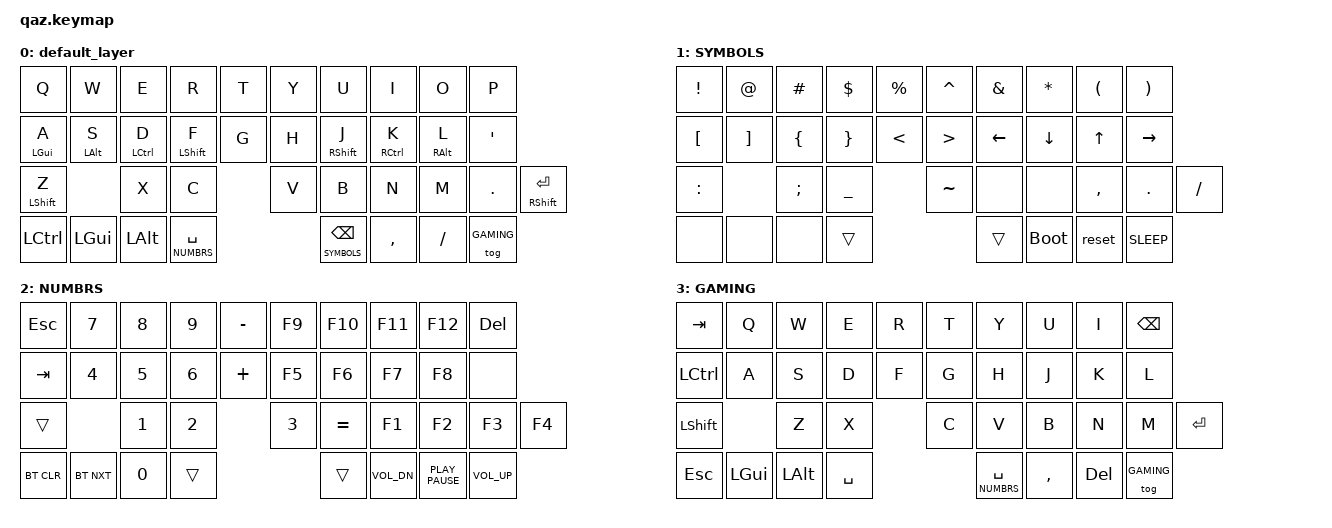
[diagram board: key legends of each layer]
/*
 * Copyright (c) 2020 The ZMK Contributors
 *
 * SPDX-License-Identifier: MIT
 */

#include <behaviors.dtsi>
#include <dt-bindings/zmk/keys.h>
#include <dt-bindings/zmk/bt.h>

#define DEFAULT 0
#define SYMBOLS 1
#define NUMBRS  2
#define GAMING  3

/ {
    behaviors {
        hm: homerow_mods {
            compatible = "zmk,behavior-hold-tap";
            label = "homerow mods";
            #binding-cells = <2>;
            tapping-term-ms = <250>;
            flavor = "tap-preferred";
            bindings = <&kp>, <&kp>;
        };
    };
};

/ {
    keymap {
        compatible = "zmk,keymap";

        default_layer {
            bindings = <
    &kp Q      &kp W      &kp E       &kp R       &kp T  &kp Y  &kp U       &kp I       &kp O      &kp P
    &hm LGUI A &hm LALT S &hm LCTRL D &hm LSHFT F &kp G  &kp H  &hm RSHFT J &hm RCTRL K &hm RALT L &kp SQT
    &hm LSHFT Z                 &kp X       &kp C       &kp V  &kp B  &kp N       &kp M       &kp DOT  &hm RSHFT ENTER
    &kp LCTRL  &kp LGUI   &kp LALT       &lt NUMBRS SPACE    &lt SYMBOLS BSPC   &kp COMMA   &kp FSLH   &tog GAMING
            >;
        };
        SYMBOLS {
            bindings = <
    &kp EXCL     &kp AT_SIGN   &kp POUND  &kp DOLLAR    &kp PRCNT      &kp CARET        &kp AMPS     &kp STAR      &kp LPAR    &kp RPAR
    &kp LBKT     &kp RBKT      &kp LBRC   &kp RBRC      &kp LESS_THAN  &kp GREATER_THAN &kp LEFT     &kp DOWN      &kp UP      &kp RIGHT
    &kp COLON    &kp SEMI      &kp UNDERSCORE   &kp TILDE  &none       &none            &kp COMMA    &kp DOT       &kp FSLH
    &none &none    &none         &trans        &trans             &bootloader     &reset    &kp C_SLEEP
            >;
        };

    NUMBRS {
            bindings = <
    &kp ESC      &kp N7      &kp N8    &kp N9       &kp MINUS &kp F9     &kp F10    &kp F11    &kp F12     &kp DEL
    &kp TAB      &kp N4      &kp N5    &kp N6       &kp PLUS  &kp F5     &kp F6     &kp F7     &kp F8      &none
    &trans       &kp N1      &kp N2    &kp N3       &kp EQUAL &kp F1     &kp F2     &kp F3     &kp F4
    &bt BT_CLR   &bt BT_NXT  &kp N0   &trans       &trans     &kp K_VOL_DN   &kp K_PLAY_PAUSE   &kp K_VOL_UP
            >;
        };
    GAMING { 
            bindings = <          
    &kp TAB      &kp Q     &kp W    &kp E       &kp R  &kp T      &kp Y         &kp U      &kp I      &kp BSPC
    &kp LCTRL    &kp A     &kp S    &kp D       &kp F  &kp G      &kp H         &kp J      &kp K      &kp L
    &kp LSHFT    &kp Z     &kp X    &kp C       &kp V  &kp B      &kp N         &kp M  &kp ENTER
    &kp ESC      &kp LGUI  &kp LALT &kp SPACE   &lt NUMBRS SPACE     &kp COMMA         &kp DEL      &tog GAMING   
            >;
        };
    };
};
